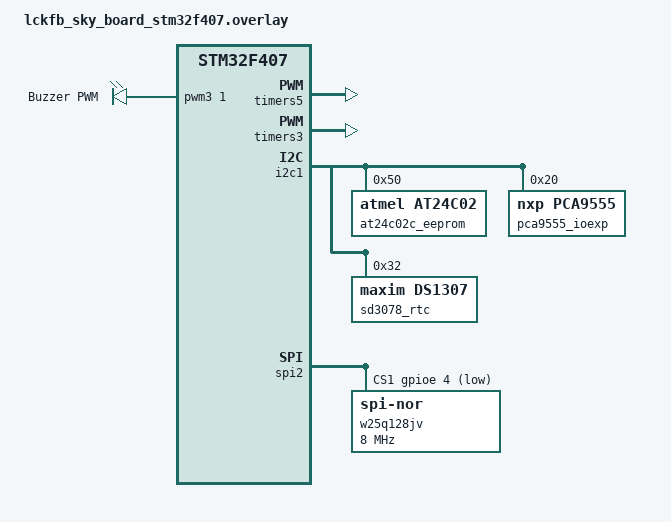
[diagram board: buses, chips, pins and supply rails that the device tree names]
#include <zephyr/dt-bindings/gpio/gpio.h>
#include <zephyr/dt-bindings/pwm/pwm.h>

/ {
	ws2812_led0: ws2812_led0 {
		compatible = "lckfb,ws2812-tim5-dma";
		status = "okay";
		chain-length = <3>;
		color-order = "grb";
		reset-us = <300>;
		pixel-offset = <0>;
	};

	buzzer_pwm_group: buzzer_pwm_group {
		compatible = "pwm-leds";
		buzzer_pwm: buzzer_pwm {
			pwms = <&pwm3 1 PWM_USEC(1000) PWM_POLARITY_NORMAL>;
			label = "Buzzer PWM";
		};
	};

	aliases {
		ws2812-0 = &ws2812_led0;
		buzzer-pwm = &buzzer_pwm;
		eeprom-0 = &at24c02c_eeprom;
		spi-flash0 = &w25q128jv;
		gpio-expander-0 = &pca9555_ioexp;
		rtc-external = &sd3078_rtc;
	};
};

&timers5 {
	status = "okay";

	pwm5: pwm {
		status = "okay";
		pinctrl-0 = <&tim5_ch4_pa3>;
		pinctrl-names = "default";
	};
};

&timers3 {
	status = "okay";
	/* 84MHz / (83 + 1) = 1MHz, keeps PWM period cycles within 16-bit TIM3 range. */
	st,prescaler = <83>;

	pwm3: pwm {
		status = "okay";
		pinctrl-0 = <&tim3_ch1_pa6>;
		pinctrl-names = "default";
	};
};

&i2c1 {
	at24c02c_eeprom: eeprom@50 {
		compatible = "atmel,at24c02", "atmel,at24";
		reg = <0x50>;
		size = <256>;
		pagesize = <8>;
		address-width = <8>;
		timeout = <5>;
		status = "okay";
	};

	pca9555_ioexp: gpio_expander@20 {
		compatible = "nxp,pca9555";
		reg = <0x20>;
		gpio-controller;
		#gpio-cells = <2>;
		ngpios = <16>;
		status = "okay";
	};

	sd3078_rtc: rtc@32 {
		compatible = "maxim,ds1307";
		reg = <0x32>;
		status = "okay";
	};
};

&spi2 {
	cs-gpios = <&gpioe 7 GPIO_ACTIVE_LOW>, <&gpioe 4 GPIO_ACTIVE_LOW>;

	w25q128jv: spi-nor-flash@1 {
		compatible = "jedec,spi-nor";
		reg = <1>;
		spi-max-frequency = <8000000>;
		size = <134217728>;
		jedec-id = [ef 40 18];
		status = "okay";
	};
};

&dma1 {
	status = "okay";
};
